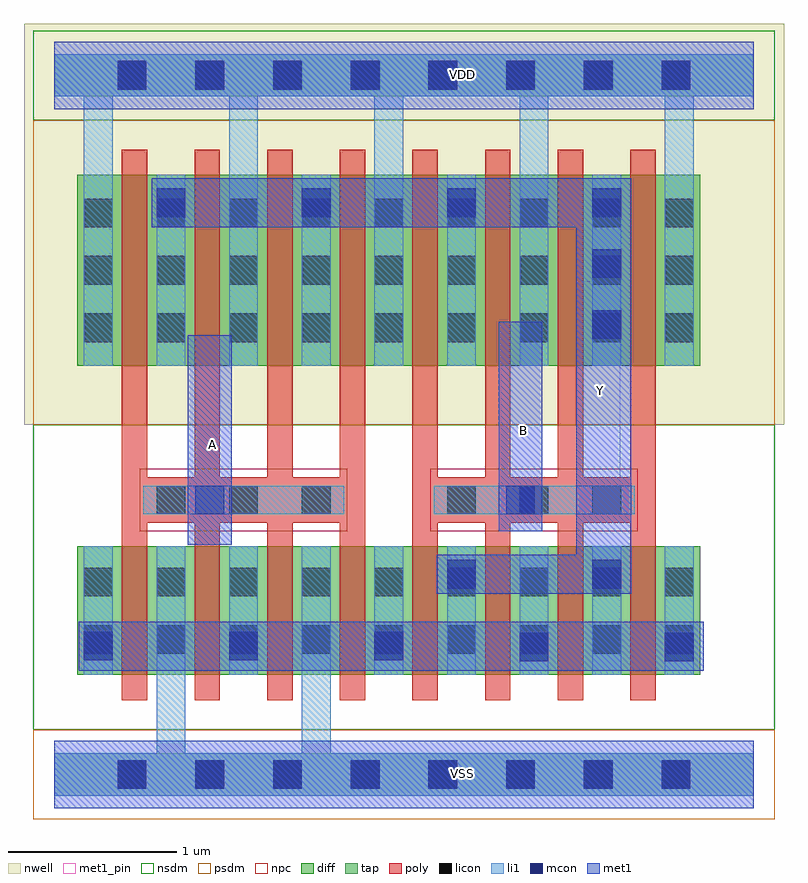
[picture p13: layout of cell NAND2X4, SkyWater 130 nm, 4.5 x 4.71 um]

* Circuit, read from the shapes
.subckt NAND2X4 A B VDD VSS Y
XM1 VSS A n1 VSS sky130_fd_pr__nfet_01v8 w=0.76 l=0.15 m=4
XM2 Y B n1 VSS sky130_fd_pr__nfet_01v8 w=0.76 l=0.15 m=4
XM3 Y A VDD VDD sky130_fd_pr__pfet_01v8 w=1.13 l=0.15 m=4
XM4 Y B VDD VDD sky130_fd_pr__pfet_01v8 w=1.13 l=0.15 m=4
.ends

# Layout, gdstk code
from math import pi, radians
import gdstk
lib = gdstk.Library(unit=1e-6, precision=1e-09)
def R(c, l, rs):  # rectangles x0, y0, x1, y1
    for r in rs: c.add(gdstk.rectangle(r[:2], r[2:], *l))
def A(c, l, x, y, w, h, nx, ny, dx, dy):  # array of equal rectangles
    R(c, l, [(x+i*dx, y+j*dy, x+i*dx+w, y+j*dy+h) for i in range(nx) for j in range(ny)])
nwell = (64, 20)
diff = (65, 20)
tap = (65, 44)
poly = (66, 20)
licon = (66, 44)
li1 = (67, 20)
mcon = (67, 44)
met1_pin = (68, 16)
met1 = (68, 20)
nsdm = (93, 44)
psdm = (94, 20)
npc = (95, 20)

pfet_01v8_cdns_716492285 = lib.new_cell('pfet_01v8_CDNS_71649228522155')
R(pfet_01v8_cdns_716492285, nwell, [(-0.235,-0.18,1.885,1.31)])
A(pfet_01v8_cdns_716492285, diff, 0, 0, 0.15, 1.13, 4, 1, 0.43, 0)
A(pfet_01v8_cdns_716492285, diff, 0.15, 0, 0.28, 1.13, 3, 1, 0.43, 0)
R(pfet_01v8_cdns_716492285, diff, [(-0.055,0,0,1.13), (1.44,0,1.705,1.13)])
A(pfet_01v8_cdns_716492285, poly, 0, -0.15, 0.15, 0.055, 4, 2, 0.43, 1.375)
A(pfet_01v8_cdns_716492285, poly, 0, -0.095, 0.15, 0.095, 4, 2, 0.43, 1.225)
A(pfet_01v8_cdns_716492285, poly, 0, 0, 0.15, 1.13, 4, 1, 0.43, 0)
A(pfet_01v8_cdns_716492285, licon, 0.205, 0.14, 0.17, 0.17, 4, 3, 0.43, 0.34)
A(pfet_01v8_cdns_716492285, li1, 0.205, 0, 0.17, 1.13, 4, 1, 0.43, 0)
R(pfet_01v8_cdns_716492285, psdm, [(-0.065,-0.13,1.845,1.26)])

nfet_01v8_cdns_716492285 = lib.new_cell('nfet_01v8_CDNS_71649228522168')
A(nfet_01v8_cdns_716492285, diff, 0, 0, 0.15, 0.76, 4, 1, 0.43, 0)
A(nfet_01v8_cdns_716492285, diff, 0.15, 0, 0.28, 0.76, 3, 1, 0.43, 0)
R(nfet_01v8_cdns_716492285, diff, [(-0.265,0,0,0.76), (1.44,0,1.665,0.76)])
A(nfet_01v8_cdns_716492285, poly, 0, -0.15, 0.15, 0.055, 4, 2, 0.43, 1.005)
A(nfet_01v8_cdns_716492285, poly, 0, -0.095, 0.15, 0.095, 4, 2, 0.43, 0.855)
A(nfet_01v8_cdns_716492285, poly, 0, 0, 0.15, 0.76, 4, 1, 0.43, 0)
A(nfet_01v8_cdns_716492285, licon, -0.225, 0.125, 0.17, 0.17, 5, 2, 0.43, 0.34)
A(nfet_01v8_cdns_716492285, li1, -0.225, 0, 0.17, 0.76, 5, 1, 0.43, 0)
R(nfet_01v8_cdns_716492285, nsdm, [(-0.405,-0.13,1.675,0.89)])

c_nfet_01v8_cdns_716492285 = lib.new_cell('nfet_01v8_CDNS_71649228522169')
A(c_nfet_01v8_cdns_716492285, diff, 0, 0, 0.15, 0.76, 4, 1, 0.43, 0)
A(c_nfet_01v8_cdns_716492285, diff, 0.15, 0, 0.28, 0.76, 3, 1, 0.43, 0)
R(c_nfet_01v8_cdns_716492285, diff, [(-0.055,0,0,0.76), (1.44,0,1.705,0.76)])
A(c_nfet_01v8_cdns_716492285, poly, 0, -0.15, 0.15, 0.055, 4, 2, 0.43, 1.005)
A(c_nfet_01v8_cdns_716492285, poly, 0, -0.095, 0.15, 0.095, 4, 2, 0.43, 0.855)
A(c_nfet_01v8_cdns_716492285, poly, 0, 0, 0.15, 0.76, 4, 1, 0.43, 0)
A(c_nfet_01v8_cdns_716492285, licon, 0.205, 0.125, 0.17, 0.17, 4, 2, 0.43, 0.34)
A(c_nfet_01v8_cdns_716492285, li1, 0.205, 0, 0.17, 0.76, 4, 1, 0.43, 0)
R(c_nfet_01v8_cdns_716492285, nsdm, [(-0.065,-0.13,1.845,0.89)])

c_pfet_01v8_cdns_716492285 = lib.new_cell('pfet_01v8_CDNS_7164922852280')
R(c_pfet_01v8_cdns_716492285, nwell, [(-0.445,-0.18,1.845,1.31)])
A(c_pfet_01v8_cdns_716492285, diff, 0, 0, 0.15, 1.13, 4, 1, 0.43, 0)
A(c_pfet_01v8_cdns_716492285, diff, 0.15, 0, 0.28, 1.13, 3, 1, 0.43, 0)
R(c_pfet_01v8_cdns_716492285, diff, [(-0.265,0,0,1.13), (1.44,0,1.665,1.13)])
A(c_pfet_01v8_cdns_716492285, poly, 0, -0.15, 0.15, 0.055, 4, 2, 0.43, 1.375)
A(c_pfet_01v8_cdns_716492285, poly, 0, -0.095, 0.15, 0.095, 4, 2, 0.43, 1.225)
A(c_pfet_01v8_cdns_716492285, poly, 0, 0, 0.15, 1.13, 4, 1, 0.43, 0)
A(c_pfet_01v8_cdns_716492285, licon, -0.225, 0.14, 0.17, 0.17, 5, 3, 0.43, 0.34)
A(c_pfet_01v8_cdns_716492285, li1, -0.225, 0, 0.17, 1.13, 5, 1, 0.43, 0)
R(c_pfet_01v8_cdns_716492285, psdm, [(-0.405,-0.13,1.675,1.26)])

pyl1con_c_cdns_716492285 = lib.new_cell('PYL1CON_C_CDNS_716492285220')
R(pyl1con_c_cdns_716492285, poly, [(-0.135,-0.165,0.135,0.165)])
R(pyl1con_c_cdns_716492285, licon, [(-0.085,-0.085,0.085,0.085)])
R(pyl1con_c_cdns_716492285, npc, [(-0.185,-0.185,0.185,0.185)])

l1m1_c_cdns_716492285223 = lib.new_cell('L1M1_C_CDNS_716492285223')
R(l1m1_c_cdns_716492285223, li1, [(-0.165,-0.085,0.165,0.085)])
R(l1m1_c_cdns_716492285223, mcon, [(-0.085,-0.085,0.085,0.085)])
R(l1m1_c_cdns_716492285223, met1, [(-0.115,-0.145,0.115,0.145)])

l1m1_c_cdns_716492285226 = lib.new_cell('L1M1_C_CDNS_716492285226')
R(l1m1_c_cdns_716492285226, li1, [(-0.085,-0.165,0.085,0.165)])
R(l1m1_c_cdns_716492285226, mcon, [(-0.085,-0.085,0.085,0.085)])
R(l1m1_c_cdns_716492285226, met1, [(-0.145,-0.115,0.145,0.115)])

l1m1_c_cdns_716492285224 = lib.new_cell('L1M1_C_CDNS_716492285224')
R(l1m1_c_cdns_716492285224, li1, [(-0.085,-0.525,0.085,0.525)])
A(l1m1_c_cdns_716492285224, mcon, -0.085, -0.445, 0.17, 0.17, 1, 3, 0, 0.36)
R(l1m1_c_cdns_716492285224, met1, [(-0.115,-0.505,0.115,0.505)])

l1m1_c_cdns_716492285222 = lib.new_cell('L1M1_C_CDNS_716492285222')
R(l1m1_c_cdns_716492285222, li1, [(-0.085,-0.165,0.085,0.165)])
R(l1m1_c_cdns_716492285222, mcon, [(-0.085,-0.085,0.085,0.085)])
R(l1m1_c_cdns_716492285222, met1, [(-0.115,-0.145,0.115,0.145)])

nand2x4 = lib.new_cell('NAND2X4')
R(nand2x4, nwell, [(-0.18,2.07,4.32,4.305), (-0.18,3.875,4.32,4.445)])
A(nand2x4, licon, 0.375, -0.085, 0.17, 0.17, 8, 2, 0.46, 4.14)
A(nand2x4, mcon, 0.375, -0.085, 0.17, 0.17, 8, 2, 0.46, 4.14)
R(nand2x4, met1_pin, [(0.79,1.36,1.05,2.6), (2.63,1.44,2.89,2.68), (3.09,1.68,3.35,2.92)])
R(nand2x4, met1, [(3.09,1.07,3.415,3.53)])
R(nand2x4, nsdm, [(-0.125,0.265,4.265,2.07), (-0.125,3.875,4.265,4.405), (-0.125,3.93,4.265,4.35)])
R(nand2x4, psdm, [(-0.125,-0.265,4.265,0.265), (-0.125,-0.21,4.265,0.21), (-0.125,2.07,4.265,3.875)])
R(nand2x4, npc, [(0.505,1.44,1.735,1.81), (2.225,1.44,3.455,1.81)])
nand2x4.add(gdstk.FlexPath([(0.475,2.42),(0.475,1.35)], 0.15, ends="flush", simple_path=True, layer=66, datatype=20))  # poly
nand2x4.add(gdstk.FlexPath([(1.335,2.42),(1.335,1.35)], 0.15, ends="flush", simple_path=True, layer=66, datatype=20))  # poly
nand2x4.add(gdstk.FlexPath([(2.195,2.42),(2.195,1.35)], 0.15, ends="flush", simple_path=True, layer=66, datatype=20))  # poly
nand2x4.add(gdstk.FlexPath([(3.055,2.42),(3.055,1.35)], 0.15, ends="flush", simple_path=True, layer=66, datatype=20))  # poly
nand2x4.add(gdstk.FlexPath([(0.905,2.42),(0.905,1.35)], 0.15, ends="flush", simple_path=True, layer=66, datatype=20))  # poly
nand2x4.add(gdstk.FlexPath([(1.765,2.42),(1.765,1.35)], 0.15, ends="flush", simple_path=True, layer=66, datatype=20))  # poly
nand2x4.add(gdstk.FlexPath([(2.625,2.42),(2.625,1.35)], 0.15, ends="flush", simple_path=True, layer=66, datatype=20))  # poly
nand2x4.add(gdstk.FlexPath([(3.485,2.42),(3.485,1.35)], 0.15, ends="flush", simple_path=True, layer=66, datatype=20))  # poly
nand2x4.add(gdstk.FlexPath([(0.525,1.625),(1.715,1.625)], 0.17, ends="flush", simple_path=True, layer=67, datatype=20))  # li1
nand2x4.add(gdstk.FlexPath([(2.245,1.625),(3.435,1.625)], 0.17, ends="flush", simple_path=True, layer=67, datatype=20))  # li1
nand2x4.add(gdstk.FlexPath([(0,4.14),(0.69,4.14)], 0.25, ends=(0, 0.085), simple_path=True, layer=67, datatype=20))  # li1
nand2x4.add(gdstk.FlexPath([(4.055,4.14),(4.14,4.14)], 0.25, ends=(0.085, 0), simple_path=True, layer=67, datatype=20))  # li1
nand2x4.add(gdstk.FlexPath([(2.47,4.14),(3.42,4.14)], 0.25, ends=(0.085, 0.085), simple_path=True, layer=67, datatype=20))  # li1
nand2x4.add(gdstk.FlexPath([(4.055,0),(4.14,0)], 0.25, ends=(0.085, 0), simple_path=True, layer=67, datatype=20))  # li1
nand2x4.add(gdstk.FlexPath([(0.69,0),(2.47,0)], 0.25, ends=(0.085, 0.085), simple_path=True, layer=67, datatype=20))  # li1
nand2x4.add(gdstk.FlexPath([(3.42,0),(4.055,0)], 0.25, ends=(0.085, 0.085), simple_path=True, layer=67, datatype=20))  # li1
nand2x4.add(gdstk.FlexPath([(0,0),(0.69,0)], 0.25, ends=(0, 0.085), simple_path=True, layer=67, datatype=20))  # li1
nand2x4.add(gdstk.FlexPath([(2.47,0),(3.42,0)], 0.25, ends=(0.085, 0.085), simple_path=True, layer=67, datatype=20))  # li1
nand2x4.add(gdstk.FlexPath([(1.55,-0.125),(1.55,0.59)], 0.17, ends="flush", simple_path=True, layer=67, datatype=20))  # li1
nand2x4.add(gdstk.FlexPath([(0.26,3.55),(0.26,4.265)], 0.17, ends="flush", simple_path=True, layer=67, datatype=20))  # li1
nand2x4.add(gdstk.FlexPath([(1.98,3.55),(1.98,4.265)], 0.17, ends="flush", simple_path=True, layer=67, datatype=20))  # li1
nand2x4.add(gdstk.FlexPath([(3.7,3.55),(3.7,4.265)], 0.17, ends="flush", simple_path=True, layer=67, datatype=20))  # li1
nand2x4.add(gdstk.FlexPath([(3.42,4.14),(4.055,4.14)], 0.25, ends=(0.085, 0.085), simple_path=True, layer=67, datatype=20))  # li1
nand2x4.add(gdstk.FlexPath([(0.69,-0.125),(0.69,0.59)], 0.17, ends="flush", simple_path=True, layer=67, datatype=20))  # li1
nand2x4.add(gdstk.FlexPath([(1.12,3.55),(1.12,4.265)], 0.17, ends="flush", simple_path=True, layer=67, datatype=20))  # li1
nand2x4.add(gdstk.FlexPath([(2.84,3.55),(2.84,4.265)], 0.17, ends="flush", simple_path=True, layer=67, datatype=20))  # li1
nand2x4.add(gdstk.FlexPath([(0.69,4.14),(2.47,4.14)], 0.25, ends=(0.085, 0.085), simple_path=True, layer=67, datatype=20))  # li1
nand2x4.add(gdstk.FlexPath([(0,0),(4.14,0)], 0.25, ends="flush", simple_path=True, layer=65, datatype=44))  # tap
nand2x4.add(gdstk.FlexPath([(0,4.14),(4.14,4.14)], 0.25, ends="flush", simple_path=True, layer=65, datatype=44))  # tap
nand2x4.add(gdstk.FlexPath([(3.22,1.07),(3.22,3.53)], 0.26, ends="flush", simple_path=True, layer=68, datatype=20))  # met1
nand2x4.add(gdstk.FlexPath([(2.76,1.44),(2.76,2.68)], 0.26, ends="flush", simple_path=True, layer=68, datatype=20))  # met1
nand2x4.add(gdstk.FlexPath([(0.92,1.36),(0.92,2.6)], 0.26, ends="flush", simple_path=True, layer=68, datatype=20))  # met1
nand2x4.add(gdstk.FlexPath([(3.845,0.76),(0.145,0.76)], 0.29, ends="flush", simple_path=True, layer=68, datatype=20))  # met1
nand2x4.add(gdstk.FlexPath([(3.415,1.185),(2.265,1.185)], 0.23, ends="flush", simple_path=True, layer=68, datatype=20))  # met1
nand2x4.add(gdstk.FlexPath([(3.385,3.385),(0.575,3.385)], 0.29, ends="flush", simple_path=True, layer=68, datatype=20))  # met1
nand2x4.add(gdstk.FlexPath([(0,4.14),(4.14,4.14)], 0.4, ends="flush", simple_path=True, layer=68, datatype=20))  # met1
nand2x4.add(gdstk.FlexPath([(0,0),(4.14,0)], 0.4, ends="flush", simple_path=True, layer=68, datatype=20))  # met1
nand2x4.add(gdstk.FlexPath([(0,4.14),(4.14,4.14)], 0.4, ends="flush", simple_path=True, layer=68, datatype=16))  # met1_pin
nand2x4.add(gdstk.FlexPath([(0,0),(4.14,0)], 0.4, ends="flush", simple_path=True, layer=68, datatype=16))  # met1_pin
nand2x4.add(gdstk.Reference(pfet_01v8_cdns_716492285, (2.12,2.42)))
nand2x4.add(gdstk.Reference(nfet_01v8_cdns_716492285, (0.4,0.59)))
nand2x4.add(gdstk.Reference(c_nfet_01v8_cdns_716492285, (2.12,0.59)))
nand2x4.add(gdstk.Reference(c_pfet_01v8_cdns_716492285, (0.4,2.42)))
nand2x4.add(gdstk.Reference(pyl1con_c_cdns_716492285, (3.27,1.625), rotation=3*pi/2, x_reflection=True))
nand2x4.add(gdstk.Reference(pyl1con_c_cdns_716492285, (2.84,1.625), rotation=3*pi/2, x_reflection=True))
nand2x4.add(gdstk.Reference(pyl1con_c_cdns_716492285, (2.41,1.625), rotation=3*pi/2, x_reflection=True))
nand2x4.add(gdstk.Reference(pyl1con_c_cdns_716492285, (1.55,1.625), rotation=3*pi/2, x_reflection=True))
nand2x4.add(gdstk.Reference(pyl1con_c_cdns_716492285, (1.12,1.625), rotation=3*pi/2, x_reflection=True))
nand2x4.add(gdstk.Reference(pyl1con_c_cdns_716492285, (0.69,1.625), rotation=3*pi/2, x_reflection=True))
nand2x4.add(gdstk.Reference(l1m1_c_cdns_716492285223, (2.76,1.625), x_reflection=True))
nand2x4.add(gdstk.Reference(l1m1_c_cdns_716492285223, (0.92,1.625), x_reflection=True))
nand2x4.add(gdstk.Reference(l1m1_c_cdns_716492285226, (3.7,0.755)))
nand2x4.add(gdstk.Reference(l1m1_c_cdns_716492285226, (2.84,0.755)))
nand2x4.add(gdstk.Reference(l1m1_c_cdns_716492285226, (3.27,1.185)))
nand2x4.add(gdstk.Reference(l1m1_c_cdns_716492285226, (2.41,1.185)))
nand2x4.add(gdstk.Reference(l1m1_c_cdns_716492285224, (3.27,3.025)))
nand2x4.add(gdstk.Reference(l1m1_c_cdns_716492285222, (1.55,3.385)))
nand2x4.add(gdstk.Reference(l1m1_c_cdns_716492285222, (2.41,3.385)))
nand2x4.add(gdstk.Reference(l1m1_c_cdns_716492285222, (0.69,3.385)))
nand2x4.add(gdstk.Reference(l1m1_c_cdns_716492285222, (1.98,0.76)))
nand2x4.add(gdstk.Reference(l1m1_c_cdns_716492285222, (1.12,0.76)))
nand2x4.add(gdstk.Reference(l1m1_c_cdns_716492285222, (0.26,0.76)))
nand2x4.add(gdstk.Label('A', (0.935,1.955), layer=68, texttype=5))
nand2x4.add(gdstk.Label('VDD', (2.415,4.145), layer=68, texttype=5))
nand2x4.add(gdstk.Label('Y', (3.235,2.275), layer=68, texttype=5))
nand2x4.add(gdstk.Label('VSS', (2.415,0.005), layer=68, texttype=5))
nand2x4.add(gdstk.Label('B', (2.775,2.035), layer=68, texttype=5))

lib.write_gds('NAND2X4.gds')
